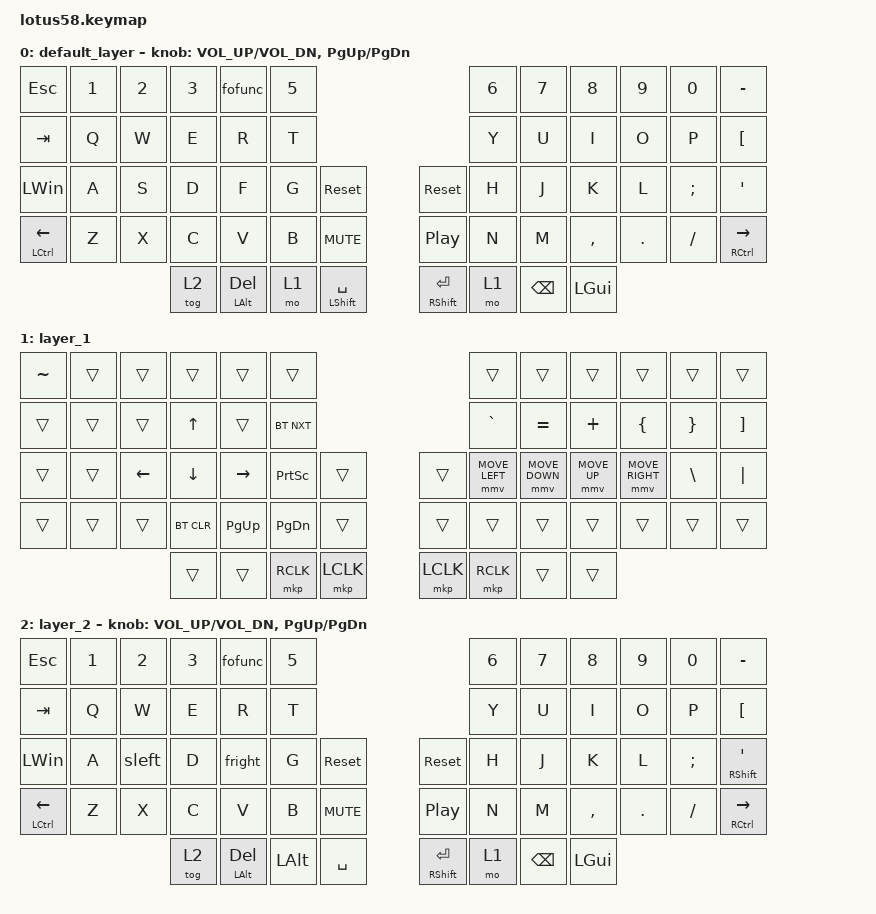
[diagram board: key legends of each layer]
/*
 * Copyright (c) 2022 The ZMK Contributors
 *
 * SPDX-License-Identifier: MIT
 */

#include <behaviors.dtsi>
#include <dt-bindings/zmk/bt.h>
#include <dt-bindings/zmk/keys.h>
#include <dt-bindings/zmk/pointing.h>

/ {
    combos {
        compatible = "zmk,combos";

        combo_dsklg {
            timeout-ms = <100>;
            key-positions = <24 52>;
            layers = <0>;
            bindings = <&kp LGUI>;
        };

        bootloader {
            bindings = <&bootloader>;
            key-positions = <0 1 10 11 9 2>;
        };
    };

    behaviors {
        fofunc: four_ffour {
            compatible = "zmk,behavior-mod-morph";
            #binding-cells = <0>;
            bindings = <&kp N4>, <&kp F4>;

            mods = <(MOD_LALT|MOD_RALT)>;
        };

        sleft: s_left {
            compatible = "zmk,behavior-mod-morph";
            #binding-cells = <0>;
            bindings = <&kp S>, <&kp LEFT>;

            mods = <(MOD_LGUI|MOD_RGUI)>;
        };

        fright: f_right {
            compatible = "zmk,behavior-mod-morph";
            #binding-cells = <0>;
            bindings = <&kp F>, <&kp RIGHT>;

            mods = <(MOD_LGUI|MOD_RGUI)>;
        };
    };

    keymap {
        compatible = "zmk,keymap";

        default_layer {
            //   ------------------------------------------------------------------------------------------------------------
            //  0|  ESC  |  1  |  2  |  3   |  4   |  5   |                     |  6   |  7    |  8    |  9   |   0   |   =   | 11
            // 12|  TAB  |  Q  |  W  |  E   |  R   |  T   |                     |  Y   |  U    |  I    |  O   |   P   |   [   | 23
            // 24|  SFT  |  A  |  S  |  D   |  F   |  G   |  RESET  |  | RESET  |  H   |  J    |  K    |  L   |   ;   | ' SFT | 37
            // 38|  CTRL |  Z  |  X  |  C   |  V   |  B   |  MUTE   |  | PLAY   |  N   |  M    |  ,    |  .   |   /   | \ CTRL| 51
            // 52                    |ENT RS|  ALT | SPACE|DELETE LW|  |ENTER RS| BSPC |  ] LW | RGUI  |                        59

            bindings = <
&kp ESCAPE      &kp N1  &kp N2  &kp N3  &fofunc       &kp N5                                             &kp N6  &kp N7         &kp N8     &kp N9   &kp N0    &kp MINUS
&kp TAB         &kp Q   &kp W   &kp E   &kp R         &kp T                                              &kp Y   &kp U          &kp I      &kp O    &kp P     &kp LBKT
&kp LEFT_WIN    &kp A   &kp S   &kp D   &kp F         &kp G   &sys_reset            &sys_reset           &kp H   &kp J          &kp K      &kp L    &kp SEMI  &kp SQT
&mt LCTRL LEFT  &kp Z   &kp X   &kp C   &kp V         &kp B   &kp C_MUTE            &kp C_PP             &kp N   &kp M          &kp COMMA  &kp DOT  &kp FSLH  &mt RCTRL RIGHT
                                &tog 2  &mt LALT DEL  &mo 1   &mt LEFT_SHIFT SPACE  &mt RIGHT_SHIFT RET  &mo 1   &kp BACKSPACE  &kp LGUI
            >;

            sensor-bindings =
                <&inc_dec_kp C_VOL_UP C_VOL_DN>,
                <&inc_dec_kp PG_UP PG_DN>;
        };

        layer_1 {
            bindings = <
&kp TILDE  &trans  &trans    &trans      &trans       &trans                                 &trans          &trans          &trans        &trans           &trans           &trans
&trans     &trans  &trans    &kp UP      &trans       &bt BT_NXT                             &kp GRAVE       &kp EQUAL       &kp PLUS      &kp LEFT_BRACE   &kp RIGHT_BRACE  &kp RIGHT_BRACKET
&trans     &trans  &kp LEFT  &kp DOWN    &kp RIGHT    &kp PRINTSCREEN  &trans     &trans     &mmv MOVE_LEFT  &mmv MOVE_DOWN  &mmv MOVE_UP  &mmv MOVE_RIGHT  &kp BACKSLASH    &kp PIPE
&trans     &trans  &trans    &bt BT_CLR  &kp PAGE_UP  &kp PAGE_DOWN    &trans     &trans     &trans          &trans          &trans        &trans           &trans           &trans
                             &trans      &trans       &mkp RCLK        &mkp LCLK  &mkp LCLK  &mkp RCLK       &trans          &trans
            >;
        };

        layer_2 {
            bindings = <
&kp ESC         &kp N1  &kp N2  &kp N3  &fofunc       &kp N5                                         &kp N6  &kp N7         &kp N8     &kp N9   &kp N0    &kp MINUS
&kp TAB         &kp Q   &kp W   &kp E   &kp R         &kp T                                          &kp Y   &kp U          &kp I      &kp O    &kp P     &kp LBKT
&kp LEFT_WIN    &kp A   &sleft  &kp D   &fright       &kp G         &sys_reset  &sys_reset           &kp H   &kp J          &kp K      &kp L    &kp SEMI  &mt RSHFT SQT
&mt LCTRL LEFT  &kp Z   &kp X   &kp C   &kp V         &kp B         &kp C_MUTE  &kp C_PP             &kp N   &kp M          &kp COMMA  &kp DOT  &kp FSLH  &mt RCTRL RIGHT
                                &tog 2  &mt LALT DEL  &kp LEFT_ALT  &kp SPACE   &mt RIGHT_SHIFT RET  &mo 1   &kp BACKSPACE  &kp LGUI
            >;

            sensor-bindings =
                <&inc_dec_kp C_VOL_UP C_VOL_DN>,
                <&inc_dec_kp PG_UP PG_DN>;
        };
    };
};
